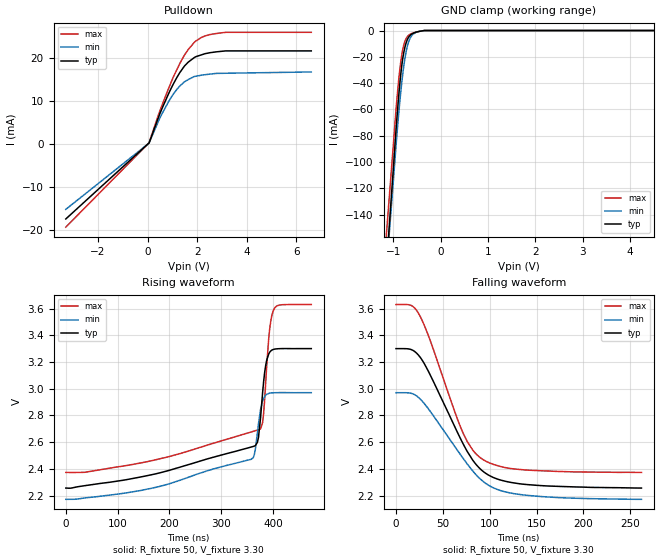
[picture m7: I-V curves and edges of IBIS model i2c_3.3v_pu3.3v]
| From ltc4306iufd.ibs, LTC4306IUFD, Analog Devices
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[Model]   i2c_3.3v_pu3.3v
Model_type I/O_open_drain
Vinl=5.200E-01
Vinh=2.000E+00
Vref=3.300E+00
Rref=2.700E+06
Cref=0.000E+00
Vmeas=1.650E+00
C_comp   1.380E-12   1.270E-12   1.490E-12
[Model spec]
Vref  3.30   2.97   3.63
Vinl  0.52   0.40   0.64
|Vinh
[Voltage Range]   3.300E+00   2.970E+00   3.630E+00
[POWER Clamp Reference]   3.300E+00   2.970E+00   3.630E+00
[GND Clamp Reference]   0.000E+00   0.000E+00   0.000E+00
[Pullup Reference]   3.300E+00   2.970E+00   3.630E+00
[Pulldown Reference]   0.000E+00   0.000E+00   0.000E+00
[Temperature Range]   25   85   -40
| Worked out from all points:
|   slope of the pulldown table from 0 to 0.495 V, typ, clamps not added: 69.9 ohm
|   GND clamp passes 1 mA (typ) near -0.49 V on its own axis
|   rising waveform, R_fixture 50, V_fixture 3.30: 20-80 % time 118ns typ, 142ns min, 78.3ns max; typ from 2.26 V to 3.3 V
|   falling waveform, R_fixture 50, V_fixture 3.30: 20-80 % time 44.6ns typ, 50.3ns min, 39ns max; typ from 3.3 V to 2.26 V
[GND Clamp]
-3.3V     -1.278A    -1.191A    -1.158A
-1.02V    -116.5mA   -125.1mA   -97.6mA
-900mV    -56.78mA   -70.02mA   -43.45mA
-860mV    -40.41mA   -54.03mA   -29.53mA
-820mV    -26.94mA   -39.88mA   -18.85mA
-780mV    -17.33mA   -27.96mA   -11.53mA
-720mV    -8.628mA   -14.81mA   -5.639mA
-680mV    -5.395mA   -9.168mA   -3.811mA
-620mV    -2.945mA   -4.45mA    -2.445mA
-520mV    -1.269mA   -1.422mA   -1.248mA
-340mV    0A         0A         0A
6.6V      0A         0A         0A
[Pulldown]
-3.3V     -17.33mA   -15.1mA    -19.23mA
60mV      287uA      311.9uA    421.1uA
560mV     8.004mA    6.842mA    8.756mA
840mV     11.65mA    9.822mA    12.86mA
1.04V     14.01mA    11.65mA    15.64mA
1.3V      16.63mA    13.5mA     18.76mA
1.48V     18.08mA    14.43mA    20.6mA
1.64V     19.04mA    15mA       21.96mA
1.94V     20.28mA    15.76mA    23.91mA
2.32V     21mA       16.12mA    25.12mA
3.14V     21.63mA    16.45mA    25.94mA
6.6V      21.63mA    16.75mA    25.94mA
[Rising Waveform]
R_fixture = 50
V_fixture = 3.30
V_fixture_min = 2.97
V_fixture_max = 3.63
0s        2.256V     2.172V     2.373V
358ns     2.563V     2.472V     2.676V
364ns     2.57V      2.506V     2.683V
370ns     2.599V     2.67V      2.69V
376ns     2.78V      2.844V     2.699V
380ns     2.971V     2.909V     2.747V
386ns     3.175V     2.951V     3.047V
392ns     3.261V     2.965V     3.385V
400ns     3.293V     2.969V     3.577V
474ns     3.3V       2.97V      3.63V
[Falling Waveform]
R_fixture = 50
V_fixture = 3.30
V_fixture_min = 2.97
V_fixture_max = 3.63
0s        3.3V       2.97V      3.63V
16ns      3.294V     2.966V     3.624V
24ns      3.251V     2.935V     3.565V
36ns      3.11V      2.836V     3.371V
72ns      2.583V     2.475V     2.662V
82ns      2.464V     2.383V     2.54V
92ns      2.387V     2.312V     2.474V
110ns     2.32V      2.241V     2.421V
134ns     2.287V     2.207V     2.394V
262ns     2.256V     2.172V     2.373V
[Ramp]
dV/dt_r   6.2618E-01/1.1770E-07   4.7882E-01/1.4170E-07   7.5401E-01/7.2830E-08
dV/dt_f   6.2618E-01/4.4582E-08   4.7882E-01/5.0243E-08   7.5401E-01/3.8946E-08
R_load = 50
